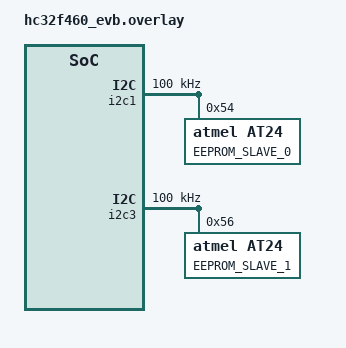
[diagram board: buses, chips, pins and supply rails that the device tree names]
/* SPDX-License-Identifier: Apache-2.0 */

&i2c1 {
	status = "okay";
	clock-frequency = < 100000 >;
	interrupts = < INT010_IRQn HC32_I2C1_EE_IRQ_PRIO INT_SRC_I2C1_EEI>,
				< INT011_IRQn HC32_I2C1_TE_IRQ_PRIO INT_SRC_I2C1_TEI>,
				< INT012_IRQn HC32_I2C1_TX_IRQ_PRIO INT_SRC_I2C1_TXI>,
				< INT013_IRQn HC32_I2C1_RX_IRQ_PRIO INT_SRC_I2C1_RXI>;

	eeprom@54 {
		compatible = "atmel,at24";
		reg = <0x54>;
		label = "EEPROM_SLAVE_0";
		size = <1>;
	};
};


&i2c3 {
	status = "okay";
	clock-frequency = < 100000 >;

	eeprom@56 {
		compatible = "atmel,at24";
		reg = <0x56>;
		label = "EEPROM_SLAVE_1";
		size = <1>;
	};
};
